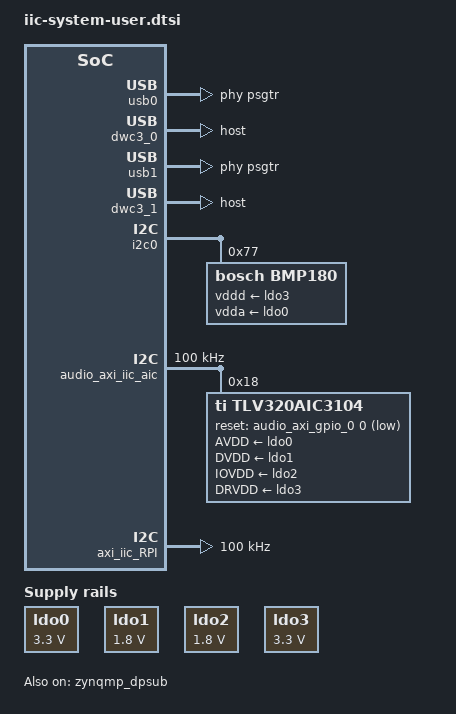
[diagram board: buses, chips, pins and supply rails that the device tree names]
/include/ "system-conf.dtsi"
#include <dt-bindings/phy/phy.h>

/ {
	chosen {
		bootargs = " earlycon console=ttyPS0,115200 console=tty0 uio_pdrv_genirq.of_id=generic-uio clk_ignore_unused rootwait root=/dev/mmcblk0p2 rw";
		stdout-path = "serial0:115200n8";
	};

        dp_clk:psgtr_dp_clock {
                compatible = "fixed-clock";
                #clock-cells = <0x00>;
                clock-frequency = <27000000>;
        };

	usb_clk:psgtr_usb_clock {
                compatible = "fixed-clock";
		#clock-cells = <0x00>;
                clock-frequency = <100000000>;
	};

	ldo0:ldo@1 {
		compatible = "regulator-fixed";
		regulator-name = "VCCp3V3_AIC_AVDD";
		regulator-min-microvolt = <3300000>;
		regulator-max-microvolt = <3300000>;
		regulator-always-on;
	};

	ldo1:ldo@2 {
		compatible = "regulator-fixed";
		regulator-name = "VCCp1V8_AIC_DVDD";
		regulator-min-microvolt = <1800000>;
		regulator-max-microvolt = <1800000>;
		regulator-always-on;
	};

	ldo2:ldo@3 {
		compatible = "regulator-fixed";
		regulator-name = "VCCp1V8_AIC_IOVDD";
		regulator-min-microvolt = <1800000>;
		regulator-max-microvolt = <1800000>;
		regulator-always-on;
	};

	ldo3:ldo@4 {
		compatible = "regulator-fixed";
		regulator-name = "VCCp3V3_AIC_DRVDD";
		regulator-min-microvolt = <3300000>;
		regulator-max-microvolt = <3300000>;
		regulator-always-on;
	};

	sound {
	    compatible = "simple-audio-card";
	    simple-audio-card,name = "AIC3104";

	    simple-audio-card,dai-link@0 {
		format = "i2s";
		bitclock-master = <&audio_i2s_transmitter_0>;
		frame-master = <&audio_i2s_transmitter_0>;
		cpu {
		    sound-dai = <&audio_audio_formatter_0>;
		};
		codec {
		    sound-dai = <&tlv320aic3104 0>;
		    clocks = <&misc_clk_0>;
		};
	    };
	};

};


&sdhci0 {
	no-1-8-v;
	disable-wp;
};

&psgtr {
      /* dp 0-1, usb0, usb1 */
      clocks = <&dp_clk>, <&usb_clk>;
      clock-names = "ref0", "ref1";
};

&zynqmp_dpsub {
	status = "okay";
	phys = <&psgtr 1 PHY_TYPE_DP 0 0>, <&psgtr 0 PHY_TYPE_DP 1 0>;
	phy-names = "dp-phy0", "dp-phy1";
};

&usb0 {
	status = "okay";
	phys = <&psgtr 2 PHY_TYPE_USB3 0 1>;
};

&dwc3_0 {
	status = "okay";
	dr_mode = "host";
	snps,usb3_lpm_capable;
	phy-names = "usb3-phy";
	maximum-speed = "super-speed";
};

&usb1 {
	status = "okay";
	phys = <&psgtr 3 PHY_TYPE_USB3 1 1>;
};

&dwc3_1 {
	status = "okay";
	dr_mode = "host";
	snps,usb3_lpm_capable;
	phy-names = "usb3-phy";
	maximum-speed = "super-speed";
};

&v_frmbuf_wr_0 {
	status = "disable";
};

&PWM_0 {
	compatible = "generic-uio";
};

&system_management_wiz_0 {
	xlnx,channels {
		#address-cells = <1>;
		#size-cells = <0>;
		channel@8 {
			reg = <0>;
		};
		channel@9 {
			reg = <9>;
		};
		channel@10 {
			reg = <10>;
		};
	};
};

&i2c0 {
	bmp180: bmp180@77 {
		compatible = "bosch,bmp180";
		reg = <0x77>;
		vddd-supply = <&ldo3>;
		vdda-supply = <&ldo0>;
	};
};

&zynqmp_dp_snd_card0 {
	status = "disable";
};

&audio_axi_iic_aic {
	clock-frequency = <100000>;

	tlv320aic3104: tlv320aic3104@18 {
		#sound-dai-cells = <1>;
		compatible = "ti,tlv320aic3104";
		reg = <0x18>;
		ai3x-micbias-vg = <1>;
		ai3x-ocmv = <0>;
		reset-gpios = <&audio_axi_gpio_0 0 GPIO_ACTIVE_LOW>;
		AVDD-supply = <&ldo0>;
		DVDD-supply = <&ldo1>;
		IOVDD-supply = <&ldo2>;
		DRVDD-supply = <&ldo3>;
	};
};

&audio_i2s_transmitter_0 {
	#sound-dai-cells = <0>;
};

&modepin_gpio {
	gpio-line-names = "PS_MODE0", "PS_MODE1", "PS_MODE2", "PS_MODE3";
};

&Pmod_JA {
	gpio-line-names = "PMOD0_0", "PMOD0_1", "PMOD0_2", "PMOD0_3",
			  "PMOD0_4", "PMOD0_5", "PMOD0_6", "PMOD0_7";
};

&Pmod_JAB {
	gpio-line-names = "PMOD01_0", "PMOD01_1", "PMOD01_2", "PMOD01_3",
			  "PMOD01_4", "PMOD01_5";
};

&Pmod_JB {
	gpio-line-names = "PMOD1_0", "PMOD1_1", "PMOD1_2", "PMOD1_3",
			  "PMOD1_4", "PMOD1_5", "PMOD1_6", "PMOD1_7";
};

&audio_axi_gpio_0 {
	gpio-line-names = "AIC_nRST";
	xlnx,dout-default = <0x1>;
	xlnx,tri-default = <0x0>;
};

&grove_gpio {
	gpio-line-names = "GROVE0_0", "GROVE0_1", "GROVE1_0", "GROVE1_1";
};

&rbp_gpio {
	gpio-line-names = "RPI_GPIO0", "RPI_GPIO1", "RPI_GPIO2", "RPI_GPIO3",
			  "RPI_GPIO4", "RPI_GPIO5", "RPI_GPIO6", "RPI_GPIO7",
			  "RPI_GPIO8", "RPI_GPIO9", "RPI_GPIO10", "RPI_GPIO11",
			  "RPI_GPIO12", "RPI_GPIO13", "RPI_GPIO14", "RPI_GPIO15",
			  "RPI_GPIO16", "RPI_GPIO17", "RPI_GPIO18", "RPI_GPIO19",
			  "RPI_GPIO20", "RPI_GPIO21", "RPI_GPIO22", "RPI_GPIO23",
			  "RPI_GPIO24", "RPI_GPIO25";
};

&axi_iic_RPI {
	clock-frequency = <100000>;
	status = "okay";
};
